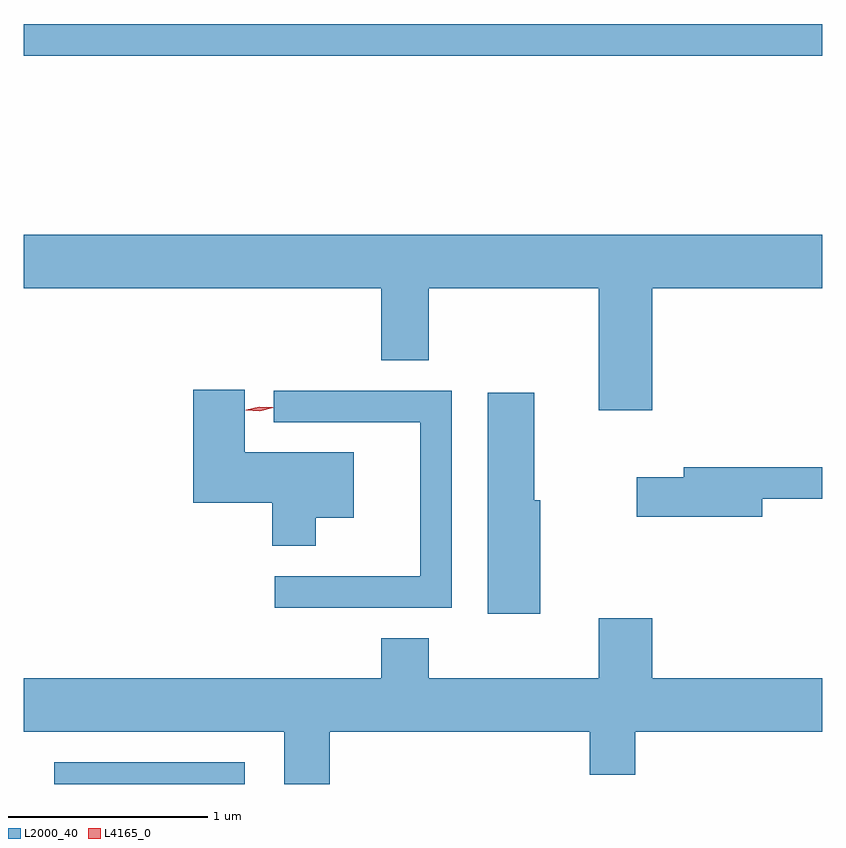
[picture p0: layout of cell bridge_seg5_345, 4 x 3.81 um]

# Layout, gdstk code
import gdstk
lib = gdstk.Library(unit=1e-6, precision=1e-09)
def R(c, l, rs):  # rectangles x0, y0, x1, y1
    for r in rs: c.add(gdstk.rectangle(r[:2], r[2:], *l))
def P(c, l, *ps):  # polygons
    for p in ps: c.add(gdstk.Polygon(p, *l))
L2000_40 = (2000, 40)
L4165_0 = (4165, 0)

bridge_seg5_345 = lib.new_cell('bridge_seg5_345')
R(bridge_seg5_345, L2000_40, [(931.631,1392.154,932.584,1392.264), (931.476,1395.801,935.476,1395.959)])
P(bridge_seg5_345, L2000_40, [(934.624,1394.636),(935.476,1394.636),(935.476,1394.904),(931.476,1394.904),(931.476,1394.636),(933.266,1394.636),(933.266,1394.276),(933.504,1394.276),(933.504,1394.636),(934.356,1394.636),(934.356,1394.026),(934.624,1394.026)],
  [(932.939,1393.486),(933.129,1393.486),(933.129,1393.814),(932.584,1393.814),(932.584,1394.129),(932.326,1394.129),(932.326,1393.561),(932.721,1393.561),(932.721,1393.346),(932.939,1393.346)],
  [(933.619,1394.124),(932.728,1394.124),(932.728,1393.966),(933.461,1393.966),(933.461,1393.194),(932.733,1393.194),(932.733,1393.036),(933.619,1393.036)],
  [(934.064,1393.574),(934.034,1393.574),(934.034,1394.114),(933.801,1394.114),(933.801,1393.006),(934.064,1393.006)],
  [(935.174,1393.581),(935.476,1393.581),(935.476,1393.739),(934.781,1393.739),(934.781,1393.689),(934.546,1393.689),(934.546,1393.491),(935.174,1393.491)],
  [(933.009,1392.416),(934.311,1392.416),(934.311,1392.201),(934.539,1392.201),(934.539,1392.416),(935.476,1392.416),(935.476,1392.684),(934.624,1392.684),(934.624,1392.984),(934.356,1392.984),(934.356,1392.684),(933.504,1392.684),(933.504,1392.884),(933.266,1392.884),(933.266,1392.684),(931.476,1392.684),(931.476,1392.416),(932.781,1392.416),(932.781,1392.154),(933.009,1392.154)])
P(bridge_seg5_345, L4165_0, [(932.658,1394.023),(932.591,1394.026),(932.591,1394.027),(932.591,1394.027),(932.656,1394.043),(932.722,1394.04),(932.723,1394.04),(932.722,1394.039)],
  [(932.658,1394.021),(932.589,1394.024),(932.588,1394.024),(932.589,1394.025),(932.656,1394.041),(932.726,1394.038),(932.726,1394.038),(932.726,1394.037)])

lib.write_gds('bridge_seg5_345.gds')
